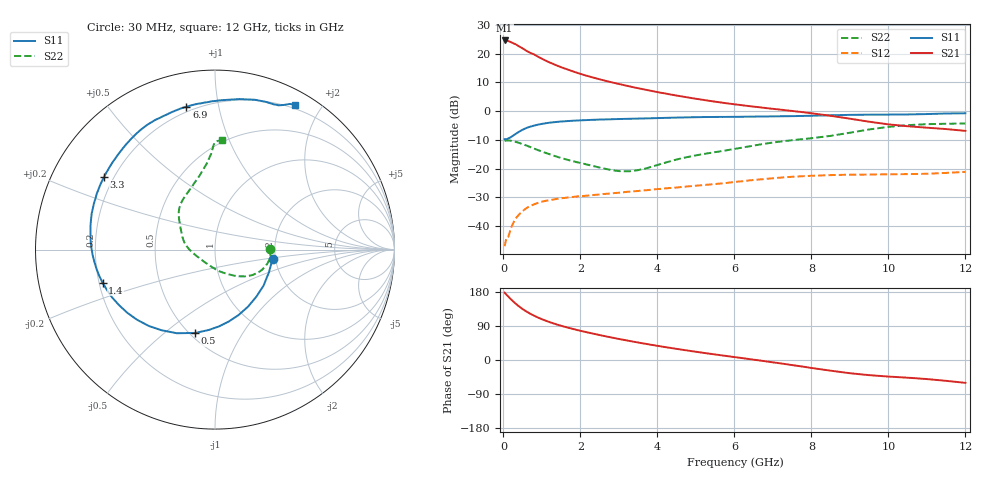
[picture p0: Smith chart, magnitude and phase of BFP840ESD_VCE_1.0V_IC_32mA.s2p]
! Infineon Technologies  Discrete & RF Semiconductors
! BFP840ESD
! VCE =  1.0 V,  IC =  32 mA
! Common Emitter S-Parameters:  May 2012
# GHz  S  MA  R  50
!  f  S11  S21  S12  S22
! GHz  MAG  ANG  MAG  ANG  MAG  ANG  MAG  ANG
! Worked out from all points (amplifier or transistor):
!   93 points, 30 MHz to 12 GHz, reference 50 ohm
!   highest |S21| = 24.6 dB at 30 MHz (marker M1)
!   |S21| within 3 dB of that: start of sweep to 526.8 MHz
!   unconditionally stable (mu >= 1): start of sweep to end of sweep
!   at 1.1 GHz: K = 1.42, MAG = 20.5 dB, |S12| = -31.2 dB
!   at 4.2 GHz: K = 2.27, MAG = 10.2 dB, |S12| = -26.9 dB
!   at 12 GHz: K = 1.60, MAG = 2.6 dB, |S12| = -21.1 dB
!   S11 on the Smith chart (normalised r, x): 30 MHz: 1.93, -0.23; 500 MHz: 0.53, -0.64; 1.4 GHz: 0.21, -0.14; 3.3 GHz: 0.16, +0.29; 6.9 GHz: 0.17, +0.81; 12 GHz: 0.16, +1.68
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0.03  0.3251 -9.3  16.99 177.6  0.0045 23.4  0.3056 0.7
0.13  0.3369 -36.5  16.54 166.9  0.0066 47.7  0.3105 -7.4
0.23  0.3676 -60.1  15.51 156.7  0.0105 50.0  0.3032 -14.3
0.28  0.3875 -70.2  14.92 152.0  0.0123 51.2  0.2979 -17.4
0.38  0.4289 -87.2  13.73 143.4  0.0153 51.1  0.2852 -23.2
0.5  0.4771 -103.3  12.35 134.3  0.0184 47.7  0.2674 -29.3
0.6  0.5121 -114.5  11.19 127.7  0.0207 45.5  0.2526 -34.1
0.7  0.5392 -123.6  10.32 121.9  0.0226 43.1  0.2377 -38.0
0.8  0.563 -130.9  9.665 116.8  0.0241 41.3  0.2234 -41.9
0.9  0.5843 -138.0  8.856 111.9  0.0255 39.2  0.2103 -45.1
1.1  0.6179 -150.0  7.557 103.6  0.0277 35.9  0.1881 -51.3
1.4  0.653 -163.6  6.187 93.3  0.03 32.8  0.1608 -59.9
1.7  0.676 -174.4  5.214 84.7  0.0318 30.7  0.1409 -68.0
2.1  0.6978 173.6  4.248 74.7  0.0337 29.0  0.1213 -79.5
2.6  0.7182 161.3  3.444 63.7  0.0363 28.2  0.1011 -96.7
3.3  0.7391 146.8  2.68 49.8  0.0399 27.5  0.0906 -132.8
4.1  0.762 132.7  2.088 35.7  0.0447 26.0  0.1217 -170.1
6.1  0.7989 109.7  1.295 6.4  0.0597 20.6  0.227 148.0
6.9  0.8116 101.3  1.118 -4.7  0.0674 15.2  0.2791 136.6
8.5  0.8497 80.8  0.832 -28.2  0.0774 1.3  0.3726 110.4
10.5  0.8786 66.2  0.548 -46.7  0.0806 -11.9  0.5716 91.1
12  0.9207 61.1  0.455 -60.3  0.0881 -18.6  0.6125 86.1
